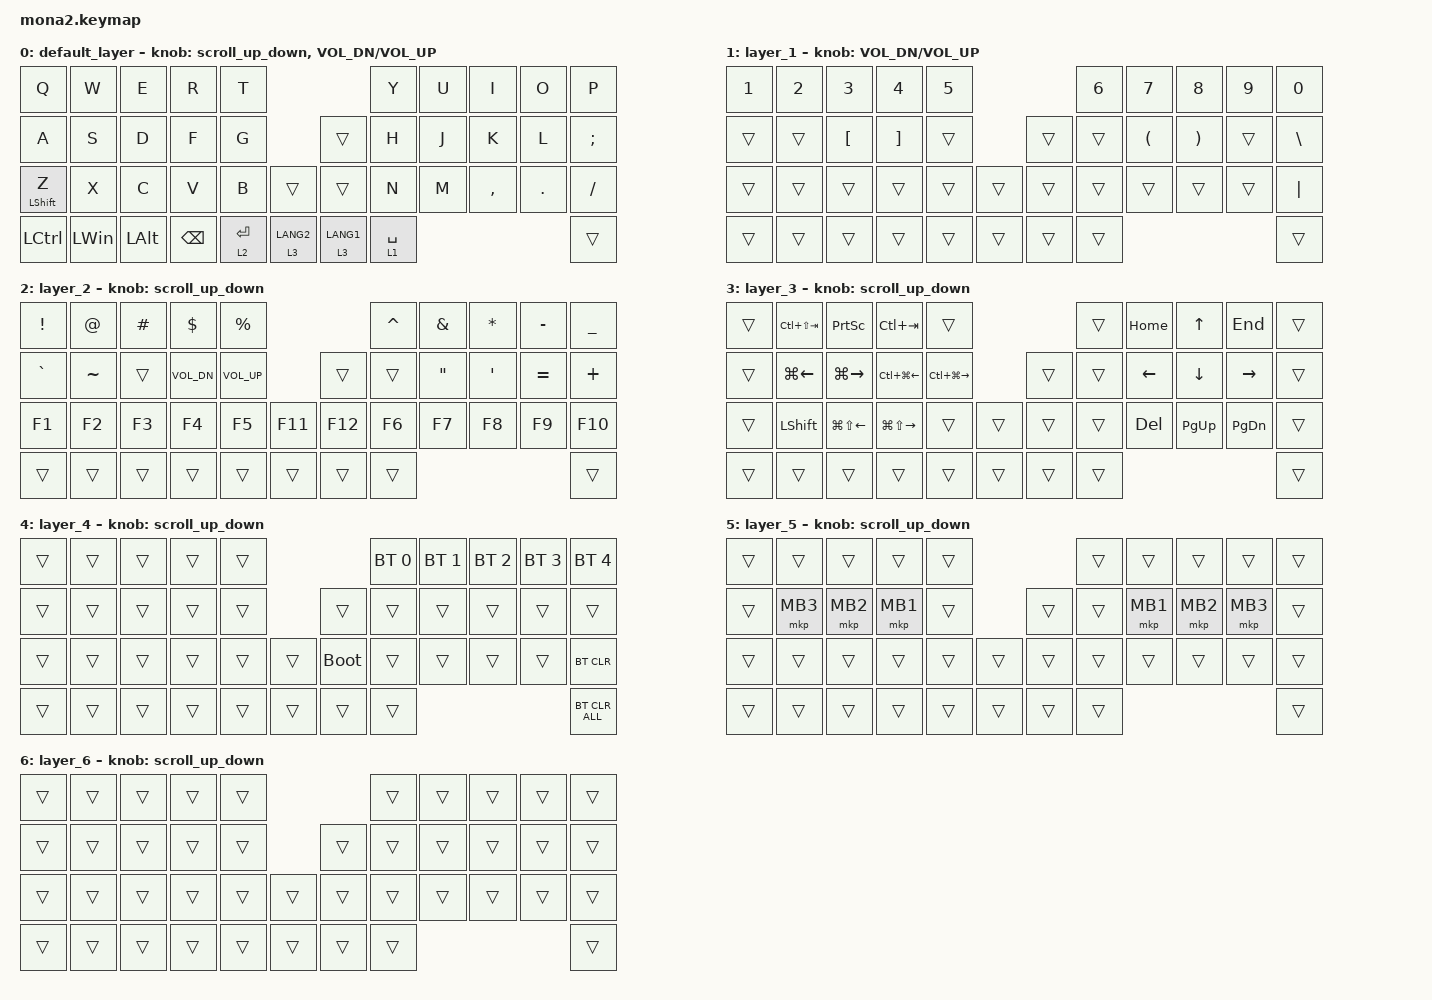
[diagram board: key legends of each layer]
#include <input/processors.dtsi>
#include <dt-bindings/zmk/input_transform.h>
#include <zephyr/dt-bindings/input/input-event-codes.h>
#include <behaviors.dtsi>
#include <dt-bindings/zmk/bt.h>
#include <dt-bindings/zmk/keys.h>
#include <dt-bindings/zmk/pointing.h>

#define ZMK_POINTING_DEFAULT_SCRL_VAL 100
#define MOUSE 5
#define SCROLL 6


&mt {
    flavor = "balanced";
    quick-tap-ms = <0>;
};

&lt {
    quick-tap-ms = <300>;
    flavor = "balanced";
};

/ {
    combos {
        compatible = "zmk,combos";

        double_quotation {
            bindings = <&kp DOUBLE_QUOTES>;
            key-positions = <19 18>;
        };

        single_quotation {
            bindings = <&kp SINGLE_QUOTE>;
            key-positions = <18 17>;
        };

        layer4_ESC {
            bindings = <&lt 4 ESC>;
            key-positions = <39 38>;
        };

        tab {
            bindings = <&kp TAB>;
            key-positions = <11 12>;
        };
    };

    macros {
        to_layer_0: to_layer_0 {
            compatible = "zmk,behavior-macro-one-param";
            #binding-cells = <1>;
            bindings = <&to 0 &macro_param_1to1 &kp MACRO_PLACEHOLDER>;
            label = "TO_LAYER_0";
        };
    };

    behaviors {
        lt_to_layer_0: lt_to_layer_0 {
            compatible = "zmk,behavior-hold-tap";
            label = "LAYER_TAP_TO_0";
            bindings = <&mo>, <&to_layer_0>;

            #binding-cells = <2>;
            tapping-term-ms = <200>;
        };

        scroll_up_down: mouse_wheel_up_down {
            compatible = "zmk,behavior-sensor-rotate";
            #sensor-binding-cells = <0>;
            bindings = <&msc SCRL_DOWN>, <&msc SCRL_UP>;

            tap-ms = <20>;
        };
    };

    keymap {
        compatible = "zmk,keymap";

        default_layer {
            bindings = <
&kp Q             &kp W         &kp E         &kp R          &kp T                                                          &kp Y        &kp U  &kp I      &kp O    &kp P
&kp A             &kp S         &kp D         &kp F          &kp G                                  &trans                  &kp H        &kp J  &kp K      &kp L    &kp SEMICOLON
&mt LEFT_SHIFT Z  &kp X         &kp C         &kp V          &kp B        &trans                    &trans                  &kp N        &kp M  &kp COMMA  &kp DOT  &kp SLASH
&kp LCTRL         &kp LEFT_WIN  &kp LEFT_ALT  &kp BACKSPACE  &lt 2 ENTER  &lt_to_layer_0 3 LANG2    &lt_to_layer_0 3 LANG1  &lt 1 SPACE                             &trans
            >;

            sensor-bindings =
                <&scroll_up_down>,
                <&inc_dec_kp C_VOL_DN C_VOL_UP>;
        };

        layer_1 {
            bindings = <
&kp NUMBER_1    &kp NUMBER_2    &kp NUMBER_3        &kp NUMBER_4        &kp NUMBER_5                        &kp NUMBER_6    &kp NUMBER_7            &kp NUMBER_8            &kp NUMBER_9    &kp NUMBER_0
&trans          &trans          &kp LEFT_BRACKET    &kp RIGHT_BRACKET   &trans                      &trans  &trans          &kp LEFT_PARENTHESIS    &kp RIGHT_PARENTHESIS   &trans          &kp BACKSLASH
&trans          &trans          &trans              &trans              &trans          &trans      &trans  &trans          &trans                  &trans                  &trans          &kp PIPE
&trans          &trans          &trans              &trans              &trans          &trans      &trans  &trans                                                                          &trans
            >;

            sensor-bindings = <&inc_dec_kp C_VOL_DN C_VOL_UP>;
        };

        layer_2 {
            bindings = <
&kp EXCLAMATION  &kp AT_SIGN    &kp POUND           &kp DOLLAR          &kp PERCENT                             &kp CARET   &kp AMPERSAND           &kp ASTERISK            &kp MINUS       &kp UNDERSCORE
&kp GRAVE        &kp TILDE      &trans              &kp C_VOL_DN        &kp C_VOL_UP                &trans      &trans      &kp DOUBLE_QUOTES       &kp SINGLE_QUOTE        &kp EQUAL       &kp PLUS
&kp F1           &kp F2         &kp F3              &kp F4              &kp F5          &kp F11     &kp F12     &kp F6      &kp F7                  &kp F8                  &kp F9          &kp F10
&trans           &trans         &trans              &trans              &trans          &trans      &trans      &trans                                                                      &trans
            >;

            sensor-bindings = <&scroll_up_down>;
        };

        layer_3 {
            bindings = <
&trans      &kp LC(LS(TAB))         &kp PRINTSCREEN         &kp LC(TAB)              &trans                                         &trans  &kp HOME        &kp UP_ARROW    &kp END             &trans
&trans      &kp LG(LEFT_ARROW)      &kp LG(RIGHT_ARROW)     &kp LC(LG(LEFT_ARROW))   &kp LC(LG(RIGHT_ARROW))              &trans    &trans  &kp LEFT_ARROW  &kp DOWN_ARROW  &kp RIGHT_ARROW     &trans
&trans      &kp LEFT_SHIFT          &kp LG(LS(LEFT_ARROW))  &kp LG(LS(RIGHT_ARROW))  &trans                     &trans    &trans    &trans  &kp DELETE      &kp PAGE_UP     &kp PAGE_DOWN       &trans
&trans      &trans                  &trans                  &trans                   &trans                     &trans    &trans    &trans                                                      &trans
            >;

            sensor-bindings = <&scroll_up_down>;
        };

        layer_4 {
            bindings = <
&trans  &trans  &trans  &trans  &trans                         &bt BT_SEL 0  &bt BT_SEL 1  &bt BT_SEL 2  &bt BT_SEL 3  &bt BT_SEL 4
&trans  &trans  &trans  &trans  &trans            &trans       &trans        &trans        &trans        &trans        &trans
&trans  &trans  &trans  &trans  &trans  &trans    &bootloader  &trans        &trans        &trans        &trans        &bt BT_CLR
&trans  &trans  &trans  &trans  &trans  &trans    &trans       &trans                                                  &bt BT_CLR_ALL
            >;

            sensor-bindings = <&scroll_up_down>;
        };

        layer_5 {
            bindings = <
&trans  &trans    &trans    &trans      &trans                    &trans  &trans    &trans    &trans    &trans
&trans  &mkp MB3  &mkp MB2  &mkp MB1    &trans            &trans  &trans  &mkp MB1  &mkp MB2  &mkp MB3  &trans
&trans  &trans    &trans    &trans      &trans  &trans    &trans  &trans  &trans    &trans    &trans    &trans
&trans  &trans    &trans    &trans      &trans  &trans    &trans  &trans                                &trans
            >;

            sensor-bindings = <&scroll_up_down>;
        };

        layer_6 {
            bindings = <
&trans  &trans  &trans  &trans  &trans                    &trans  &trans    &trans    &trans    &trans
&trans  &trans  &trans  &trans  &trans            &trans  &trans  &trans    &trans    &trans    &trans
&trans  &trans  &trans  &trans  &trans  &trans    &trans  &trans  &trans    &trans    &trans    &trans
&trans  &trans  &trans  &trans  &trans  &trans    &trans  &trans                                &trans
            >;

            sensor-bindings = <&scroll_up_down>;
        };
    };
};
